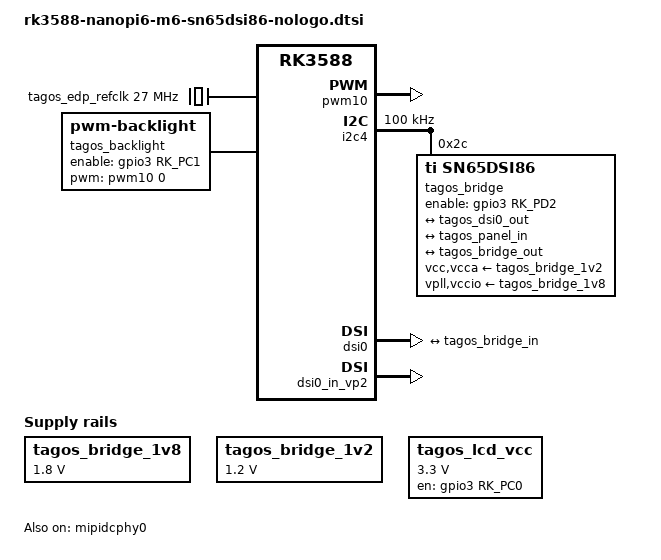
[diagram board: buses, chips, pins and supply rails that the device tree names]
// SPDX-License-Identifier: (GPL-2.0+ OR MIT)
/*
 * NanoPi M6 (RK3588S, FriendlyELEC kernel 6.1.141 nanopi6-v6.1.y)
 * DSI0 (dsi@fde20000, rockchip,rk3588-mipi-dsi2 + mipi_dcphy0)
 *   -> SN65DSI86 @ I2C4_M3 0x2C -> BOE NE160WUM-N62 eDP (2 lanes HBR, ASSR, no HPD)
 * Applied overlay for payload/new-rev0a-nologo.dtb.
 * Same text as payload/rk3588-nanopi6-m6-sn65dsi86.dtsi except route_dsi0
 * stays disabled. Include at END of rk3588-nanopi6-rev0a.dts.
 * Pins verified on live DT: i2c4m3_xfer = GPIO1_A3/A2 func9; pwm10m2_pins = GPIO3_D3 func11
 * (so BL_PWM IS PWM-capable: PWM10 = pwm@febe0020, label dsi0_pwm).
 */
#include <dt-bindings/gpio/gpio.h>
#include <dt-bindings/pinctrl/rockchip.h>

/ {
	tagos_edp_refclk: tagos-edp-refclk {
		compatible = "fixed-clock";
		#clock-cells = <0>;
		clock-frequency = <27000000>;	/* driver supports 12/19.2/26/27/38.4 MHz */
	};

	/* Bridge 1.8 V/1.2 V rails are always-on on our board: dummy fixed regulators. */
	tagos_bridge_1v8: tagos-bridge-1v8 {
		compatible = "regulator-fixed";
		regulator-name = "tagos_bridge_1v8";
		regulator-min-microvolt = <1800000>;
		regulator-max-microvolt = <1800000>;
		regulator-always-on;
		regulator-boot-on;
	};
	tagos_bridge_1v2: tagos-bridge-1v2 {
		compatible = "regulator-fixed";
		regulator-name = "tagos_bridge_1v2";
		regulator-min-microvolt = <1200000>;
		regulator-max-microvolt = <1200000>;
		regulator-always-on;
		regulator-boot-on;
	};

	/* Panel 3.3 V (TPS22919). VLED 12 V follows in hardware. */
	tagos_lcd_vcc: tagos-lcd-vcc {
		compatible = "regulator-fixed";
		regulator-name = "tagos_lcd_vcc";
		regulator-min-microvolt = <3300000>;
		regulator-max-microvolt = <3300000>;
		gpio = <&gpio3 RK_PC0 GPIO_ACTIVE_HIGH>;
		enable-active-high;
		startup-delay-us = <10000>;
		off-on-delay-us = <500000>;	/* N62 T12: power-off >= 500 ms before re-on */
		pinctrl-names = "default";
		pinctrl-0 = <&tagos_lcd_vcc_en>;
	};

	tagos_backlight: tagos-backlight {
		compatible = "pwm-backlight";
		pwms = <&pwm10 0 1000000 0>;	/* 1 kHz; N62 allows 200..2000 Hz */
		enable-gpios = <&gpio3 RK_PC1 GPIO_ACTIVE_HIGH>;
		pinctrl-names = "default";
		pinctrl-0 = <&tagos_bl_en>;
		brightness-levels = <0 255>;
		num-interpolated-steps = <255>;
		default-brightness-level = <160>;
		post-pwm-on-delay-ms = <10>;
		pwm-off-delay-ms = <10>;
	};
};

&pinctrl {
	tagos-edp {
		tagos_lcd_vcc_en: tagos-lcd-vcc-en {
			rockchip,pins = <3 RK_PC0 RK_FUNC_GPIO &pcfg_pull_down>;
		};
		tagos_bl_en: tagos-bl-en {
			rockchip,pins = <3 RK_PC1 RK_FUNC_GPIO &pcfg_pull_down>;
		};
		tagos_bridge_en: tagos-bridge-en {
			rockchip,pins = <3 RK_PD2 RK_FUNC_GPIO &pcfg_pull_down>;
		};
	};
};

&pwm10 {	/* = dsi0_pwm, pwm@febe0020 */
	pinctrl-names = "active";
	pinctrl-0 = <&pwm10m2_pins>;
	status = "okay";
};

&i2c4 {	/* = dsi0_i2c, i2c@feac0000 */
	pinctrl-names = "default";
	pinctrl-0 = <&i2c4m3_xfer>;
	clock-frequency = <100000>;
	status = "okay";

	tagos_bridge: bridge@2c {
		compatible = "ti,sn65dsi86";
		reg = <0x2c>;
		enable-gpios = <&gpio3 RK_PD2 GPIO_ACTIVE_HIGH>;
		pinctrl-names = "default";
		pinctrl-0 = <&tagos_bridge_en>;
		vcc-supply = <&tagos_bridge_1v2>;
		vcca-supply = <&tagos_bridge_1v2>;
		vpll-supply = <&tagos_bridge_1v8>;
		vccio-supply = <&tagos_bridge_1v8>;
		clocks = <&tagos_edp_refclk>;
		clock-names = "refclk";
		/* no-hpd is a PANEL property; the driver itself always sets HPD_DISABLE. */

		ports {
			#address-cells = <1>;
			#size-cells = <0>;

			port@0 {
				reg = <0>;
				tagos_bridge_in: endpoint {
					remote-endpoint = <&tagos_dsi0_out>;
					/* driver hard-codes 4 DSI lanes; data-lanes here is ignored */
				};
			};

			port@1 {
				reg = <1>;
				tagos_bridge_out: endpoint {
					data-lanes = <0 1>;	/* 2 eDP lanes, straight mapping */
					remote-endpoint = <&tagos_panel_in>;
				};
			};
		};

		aux-bus {
			panel: panel {
				/* generic: reads EDID over AUX; unknown BOE id -> conservative delays (OK) */
				compatible = "edp-panel";
				power-supply = <&tagos_lcd_vcc>;
				backlight = <&tagos_backlight>;
				no-hpd;
				hpd-absent-delay-ms = <200>;	/* N62 T3 max 200 ms */

				port {
					tagos_panel_in: endpoint {
						remote-endpoint = <&tagos_bridge_out>;
					};
				};
			};
		};
	};
};

/* NOTE: in this FriendlyELEC tree the labels mipi_dcphy0/1 point to "/mipi-dcphy-dummy";
 * real PHYs are &mipidcphy0 (phy@feda0000, used by dsi0) / &mipidcphy1 - both already "okay". */
&mipidcphy0 {
	status = "okay";
};

&dsi0 {
	status = "okay";
	/* rockchip vendor dsi2: keep defaults; remove any panel@0 child if a dts adds one */

	ports {
		#address-cells = <1>;
		#size-cells = <0>;

		port@1 {
			reg = <1>;
			tagos_dsi0_out: endpoint {
				remote-endpoint = <&tagos_bridge_in>;
			};
		};
	};
};

/* VP2 currently feeds DSI1 (YX35 panel). Move VP2 to DSI0, turn DSI1 off. */
&dsi0_in_vp2 { status = "okay"; };
&dsi0_in_vp3 { status = "disabled"; };
&dsi1_in_vp2 { status = "disabled"; };

&route_dsi0 {
	/* Shipped DTB: U-Boot must not drive DSI0 (the "nologo" image).
	 * payload/rk3588-nanopi6-m6-sn65dsi86.dtsi sets status = "okay";
	 * that draft is not what was written into the resource image. */
	status = "disabled";
	connect = <&vp2_out_dsi0>;
};
&route_dsi1 { status = "disabled"; };

&dsi1 { status = "disabled"; };
/* mipidcphy1 left as-is (okay) - may be shared with CSI. */
